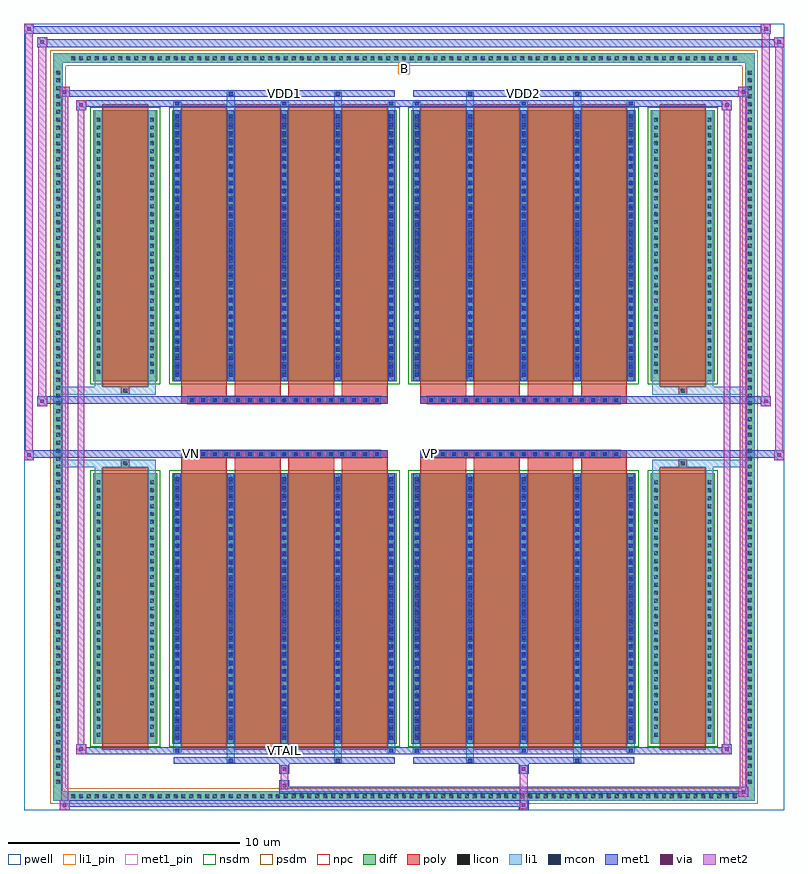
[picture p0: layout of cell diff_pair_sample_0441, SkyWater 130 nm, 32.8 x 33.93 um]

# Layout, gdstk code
import gdstk
lib = gdstk.Library(unit=1e-6, precision=5e-09)
def R(c, l, rs):  # rectangles x0, y0, x1, y1
    for r in rs: c.add(gdstk.rectangle(r[:2], r[2:], *l))
def A(c, l, x, y, w, h, nx, ny, dx, dy):  # array of equal rectangles
    R(c, l, [(x+i*dx, y+j*dy, x+i*dx+w, y+j*dy+h) for i in range(nx) for j in range(ny)])
def P(c, l, *ps):  # polygons
    for p in ps: c.add(gdstk.Polygon(p, *l))
pwell = (64, 44)
diff = (65, 20)
poly = (66, 20)
licon = (66, 44)
li1_pin = (67, 16)
li1 = (67, 20)
mcon = (67, 44)
met1_pin = (68, 16)
met1 = (68, 20)
via = (68, 44)
met2 = (69, 20)
nsdm = (93, 44)
psdm = (94, 20)
npc = (95, 20)

diff_pair_sample_0441 = lib.new_cell('diff_pair_sample_0441')
R(diff_pair_sample_0441, pwell, [(-16.4,-16.53,16.4,17.4), (-13.72,-14.72,-0.01,-0.8), (0.01,-14.72,13.72,-0.8), (-13.72,0.8,-0.01,14.72), (0.01,0.8,13.72,14.72)])
A(diff_pair_sample_0441, diff, -14.485, -16.13, 0.41, 0.41, 85, 2, 0.34, 31.85)
A(diff_pair_sample_0441, diff, -15.13, -15.505, 0.41, 0.41, 1, 91, 0, 0.34)
A(diff_pair_sample_0441, diff, 14.72, -15.505, 0.41, 0.41, 1, 91, 0, 0.34)
R(diff_pair_sample_0441, diff, [(-14.485,-16.13,14.485,-15.72), (-15.13,-15.505,-14.72,15.505), (14.72,-15.505,15.13,15.505), (-13.41,-13.675,-10.65,-1.985), (-10.01,-13.675,-0.32,-1.985), (0.32,-13.675,10.01,-1.985), (10.65,-13.675,13.41,-1.985), (-13.41,1.985,-10.65,13.675), (-10.01,1.985,-0.32,13.675), (0.32,1.985,10.01,13.675), (10.65,1.985,13.41,13.675), (-14.485,15.72,14.485,16.13)])
P(diff_pair_sample_0441, diff, [(15.13,16.13),(-15.13,16.13),(-15.13,-15.72),(-14.72,-15.72),(-14.72,15.72),(14.72,15.72),(14.72,-15.72),(-14.72,-15.72),(-15.13,-15.72),(-15.13,-16.13),(15.13,-16.13)])
A(diff_pair_sample_0441, poly, -9.62, -13.925, 1.98, 12.19, 4, 2, 2.31, 15.66)
A(diff_pair_sample_0441, poly, 0.71, -13.925, 1.98, 12.19, 4, 2, 2.31, 15.66)
A(diff_pair_sample_0441, poly, -9.62, -1.735, 1.98, 0.405, 4, 2, 2.31, 3.065)
A(diff_pair_sample_0441, poly, 0.71, -1.735, 1.98, 0.405, 4, 2, 2.31, 3.065)
A(diff_pair_sample_0441, poly, -9.33, -1.33, 0.33, 0.33, 17, 2, 0.5, 2.33)
A(diff_pair_sample_0441, poly, 1, -1.33, 0.33, 0.33, 17, 2, 0.5, 2.33)
R(diff_pair_sample_0441, poly, [(-13.02,-13.925,-11.04,-1.735), (11.04,-13.925,13.02,-1.735), (-12.195,-1.735,-11.865,-1.405), (-12.195,-1.735,-11.865,-1.405), (11.865,-1.735,12.195,-1.405), (11.865,-1.735,12.195,-1.405), (-9.62,-1.33,-0.71,-1), (0.71,-1.33,9.62,-1), (-9.62,1,-0.71,1.33), (0.71,1,9.62,1.33), (-12.195,1.405,-11.865,1.735), (-12.195,1.405,-11.865,1.735), (11.865,1.405,12.195,1.735), (11.865,1.405,12.195,1.735), (-13.02,1.735,-11.04,13.925), (11.04,1.735,13.02,13.925)])
A(diff_pair_sample_0441, licon, -14.365, -16.01, 0.17, 0.17, 85, 2, 0.34, 31.85)
A(diff_pair_sample_0441, licon, -15.01, -15.385, 0.17, 0.17, 1, 91, 0, 0.34)
A(diff_pair_sample_0441, licon, 14.84, -15.385, 0.17, 0.17, 1, 91, 0, 0.34)
A(diff_pair_sample_0441, licon, -13.27, -13.355, 0.17, 0.17, 1, 33, 0, 0.34)
A(diff_pair_sample_0441, licon, -10.96, -13.355, 0.17, 0.17, 1, 33, 0, 0.34)
A(diff_pair_sample_0441, licon, -9.87, -13.355, 0.17, 0.17, 5, 33, 2.31, 0.34)
A(diff_pair_sample_0441, licon, 0.46, -13.355, 0.17, 0.17, 5, 33, 2.31, 0.34)
A(diff_pair_sample_0441, licon, 10.79, -13.355, 0.17, 0.17, 1, 33, 0, 0.34)
A(diff_pair_sample_0441, licon, 13.1, -13.355, 0.17, 0.17, 1, 33, 0, 0.34)
A(diff_pair_sample_0441, licon, -9.25, -1.25, 0.17, 0.17, 17, 2, 0.5, 2.33)
A(diff_pair_sample_0441, licon, 1.08, -1.25, 0.17, 0.17, 17, 2, 0.5, 2.33)
A(diff_pair_sample_0441, licon, -13.27, 2.305, 0.17, 0.17, 1, 33, 0, 0.34)
A(diff_pair_sample_0441, licon, -10.96, 2.305, 0.17, 0.17, 1, 33, 0, 0.34)
A(diff_pair_sample_0441, licon, -9.87, 2.305, 0.17, 0.17, 5, 33, 2.31, 0.34)
A(diff_pair_sample_0441, licon, 0.46, 2.305, 0.17, 0.17, 5, 33, 2.31, 0.34)
A(diff_pair_sample_0441, licon, 10.79, 2.305, 0.17, 0.17, 1, 33, 0, 0.34)
A(diff_pair_sample_0441, licon, 13.1, 2.305, 0.17, 0.17, 1, 33, 0, 0.34)
R(diff_pair_sample_0441, licon, [(-12.115,-1.655,-11.945,-1.485), (11.945,-1.655,12.115,-1.485), (-12.115,1.485,-11.945,1.655), (11.945,1.485,12.115,1.655)])
R(diff_pair_sample_0441, li1_pin, [(-0.25,15.22,0.25,15.72)])
A(diff_pair_sample_0441, li1, -14.445, -16.09, 0.33, 0.33, 85, 2, 0.34, 31.85)
A(diff_pair_sample_0441, li1, -15.09, -15.465, 0.33, 0.33, 1, 91, 0, 0.34)
A(diff_pair_sample_0441, li1, 14.76, -15.465, 0.33, 0.33, 1, 91, 0, 0.34)
A(diff_pair_sample_0441, li1, -9.95, -14.05, 0.33, 0.375, 3, 2, 4.62, 27.725)
A(diff_pair_sample_0441, li1, -9.87, -14.05, 0.17, 0.17, 3, 2, 4.62, 27.93)
A(diff_pair_sample_0441, li1, 0.38, -14.05, 0.33, 0.375, 3, 2, 4.62, 27.725)
A(diff_pair_sample_0441, li1, 0.46, -14.05, 0.17, 0.17, 3, 2, 4.62, 27.93)
A(diff_pair_sample_0441, li1, -9.95, -13.675, 0.33, 11.69, 5, 2, 2.31, 15.66)
A(diff_pair_sample_0441, li1, 0.38, -13.675, 0.33, 11.69, 5, 2, 2.31, 15.66)
A(diff_pair_sample_0441, li1, -9.87, -13.495, 0.17, 0.17, 5, 32, 2.31, 0.36)
A(diff_pair_sample_0441, li1, -9.87, -13.495, 0.17, 11.33, 5, 2, 2.31, 15.66)
A(diff_pair_sample_0441, li1, 0.46, -13.495, 0.17, 0.17, 5, 32, 2.31, 0.36)
A(diff_pair_sample_0441, li1, 0.46, -13.495, 0.17, 11.33, 5, 2, 2.31, 15.66)
A(diff_pair_sample_0441, li1, -13.35, -13.435, 0.33, 0.33, 1, 33, 0, 0.34)
A(diff_pair_sample_0441, li1, -11.04, -13.435, 0.33, 0.33, 1, 33, 0, 0.34)
A(diff_pair_sample_0441, li1, -9.95, -13.435, 0.33, 0.33, 5, 33, 2.31, 0.34)
A(diff_pair_sample_0441, li1, 0.38, -13.435, 0.33, 0.33, 5, 33, 2.31, 0.34)
A(diff_pair_sample_0441, li1, 10.71, -13.435, 0.33, 0.33, 1, 33, 0, 0.34)
A(diff_pair_sample_0441, li1, 13.02, -13.435, 0.33, 0.33, 1, 33, 0, 0.34)
A(diff_pair_sample_0441, li1, -9.33, -1.33, 0.33, 0.33, 17, 2, 0.5, 2.33)
A(diff_pair_sample_0441, li1, 1, -1.33, 0.33, 0.33, 17, 2, 0.5, 2.33)
A(diff_pair_sample_0441, li1, -9.87, 2.165, 0.17, 0.17, 5, 32, 2.31, 0.36)
A(diff_pair_sample_0441, li1, 0.46, 2.165, 0.17, 0.17, 5, 32, 2.31, 0.36)
A(diff_pair_sample_0441, li1, -13.35, 2.225, 0.33, 0.33, 1, 33, 0, 0.34)
A(diff_pair_sample_0441, li1, -11.04, 2.225, 0.33, 0.33, 1, 33, 0, 0.34)
A(diff_pair_sample_0441, li1, -9.95, 2.225, 0.33, 0.33, 5, 33, 2.31, 0.34)
A(diff_pair_sample_0441, li1, 0.38, 2.225, 0.33, 0.33, 5, 33, 2.31, 0.34)
A(diff_pair_sample_0441, li1, 10.71, 2.225, 0.33, 0.33, 1, 33, 0, 0.34)
A(diff_pair_sample_0441, li1, 13.02, 2.225, 0.33, 0.33, 1, 33, 0, 0.34)
R(diff_pair_sample_0441, li1, [(-15.13,-16.13,-14.72,-15.72), (-15.13,-16.13,-14.72,-15.72), (-14.72,-16.13,14.72,-15.72), (14.72,-16.13,15.13,-15.72), (14.72,-16.13,15.13,-15.72), (-15.13,-15.72,-14.72,15.72), (14.72,-15.72,15.13,15.72), (-7.64,-14.48,-7.31,-13.675), (-7.56,-14.48,-7.39,-14.31), (-3.02,-14.48,-2.69,-13.675), (-2.94,-14.48,-2.77,-14.31), (2.69,-14.48,3.02,-13.675), (2.77,-14.48,2.94,-14.31), (7.31,-14.48,7.64,-13.675), (7.39,-14.48,7.56,-14.31), (-13.35,-13.675,-13.02,-1.985), (-11.04,-13.675,-10.71,-1.985), (10.71,-13.675,11.04,-1.985), (13.02,-13.675,13.35,-1.985), (-13.35,-1.985,-13.02,-1.405), (-11.04,-1.985,-10.71,-1.405), (10.71,-1.985,11.04,-1.405), (13.02,-1.985,13.35,-1.405), (-15.13,-1.735,-12.195,-1.405), (-13.35,-1.735,-12.195,-1.405), (-12.195,-1.735,-11.865,-1.405), (-11.865,-1.735,-10.71,-1.405), (10.71,-1.735,11.865,-1.405), (11.865,-1.735,12.195,-1.405), (11.865,-1.735,15.13,-1.405), (12.195,-1.735,13.35,-1.405), (-15.13,1.405,-12.195,1.735), (-13.35,1.405,-12.195,1.735), (-13.35,1.405,-13.02,1.985), (-12.195,1.405,-11.865,1.735), (-11.865,1.405,-10.71,1.735), (-11.04,1.405,-10.71,1.985), (10.71,1.405,11.865,1.735), (10.71,1.405,11.04,1.985), (11.865,1.405,12.195,1.735), (11.865,1.405,15.13,1.735), (12.195,1.405,13.35,1.735), (13.02,1.405,13.35,1.985), (-13.35,1.985,-13.02,13.675), (-11.04,1.985,-10.71,13.675), (10.71,1.985,11.04,13.675), (13.02,1.985,13.35,13.675), (-7.64,13.675,-7.31,14.48), (-3.02,13.675,-2.69,14.48), (2.69,13.675,3.02,14.48), (7.31,13.675,7.64,14.48), (-7.56,14.31,-7.39,14.48), (-2.94,14.31,-2.77,14.48), (2.77,14.31,2.94,14.48), (7.39,14.31,7.56,14.48), (-15.13,15.72,-14.72,16.13), (-15.13,15.72,-14.72,16.13), (-14.72,15.72,14.72,16.13), (14.72,15.72,15.13,16.13), (14.72,15.72,15.13,16.13)])
A(diff_pair_sample_0441, mcon, -9.87, -14.05, 0.17, 0.17, 3, 2, 4.62, 27.93)
A(diff_pair_sample_0441, mcon, 0.46, -14.05, 0.17, 0.17, 3, 2, 4.62, 27.93)
A(diff_pair_sample_0441, mcon, -9.87, -13.495, 0.17, 0.17, 5, 32, 2.31, 0.36)
A(diff_pair_sample_0441, mcon, 0.46, -13.495, 0.17, 0.17, 5, 32, 2.31, 0.36)
A(diff_pair_sample_0441, mcon, -9.25, -1.25, 0.17, 0.17, 17, 2, 0.5, 2.33)
A(diff_pair_sample_0441, mcon, 1.08, -1.25, 0.17, 0.17, 17, 2, 0.5, 2.33)
A(diff_pair_sample_0441, mcon, -9.87, 2.165, 0.17, 0.17, 5, 32, 2.31, 0.36)
A(diff_pair_sample_0441, mcon, 0.46, 2.165, 0.17, 0.17, 5, 32, 2.31, 0.36)
R(diff_pair_sample_0441, mcon, [(-7.56,-14.48,-7.39,-14.31), (-2.94,-14.48,-2.77,-14.31), (2.77,-14.48,2.94,-14.31), (7.39,-14.48,7.56,-14.31), (-7.56,14.31,-7.39,14.48), (-2.94,14.31,-2.77,14.48), (2.77,14.31,2.94,14.48), (7.39,14.31,7.56,14.48)])
R(diff_pair_sample_0441, met1_pin, [(-5.3,-14.09,-5.03,-13.82), (-9.3,-1.29,-9.03,-1.02), (1.03,-1.29,1.3,-1.02), (-5.3,14.27,-5.03,14.54), (5.03,14.27,5.3,14.54)])
A(diff_pair_sample_0441, met1, -9.93, -14.11, 0.29, 0.29, 3, 2, 4.62, 27.93)
A(diff_pair_sample_0441, met1, 0.4, -14.11, 0.29, 0.29, 3, 2, 4.62, 27.93)
A(diff_pair_sample_0441, met1, -9.93, -13.675, 0.29, 11.69, 5, 2, 2.31, 15.66)
A(diff_pair_sample_0441, met1, 0.4, -13.675, 0.29, 11.69, 5, 2, 2.31, 15.66)
A(diff_pair_sample_0441, met1, -9.93, -13.555, 0.29, 0.29, 5, 32, 2.31, 0.36)
A(diff_pair_sample_0441, met1, 0.4, -13.555, 0.29, 0.29, 5, 32, 2.31, 0.36)
A(diff_pair_sample_0441, met1, -9.31, -1.31, 0.29, 0.29, 17, 2, 0.5, 2.33)
A(diff_pair_sample_0441, met1, 1.02, -1.31, 0.29, 0.29, 17, 2, 0.5, 2.33)
A(diff_pair_sample_0441, met1, -9.93, 2.105, 0.29, 0.29, 5, 32, 2.31, 0.36)
A(diff_pair_sample_0441, met1, 0.4, 2.105, 0.29, 0.29, 5, 32, 2.31, 0.36)
R(diff_pair_sample_0441, met1, [(-14.86,-16.53,-14.43,-16.1), (4.95,-16.53,5.38,-16.1), (-14.86,-16.39,5.38,-16.1), (14.43,-15.96,14.86,-15.53), (-5.38,-15.82,14.86,-15.53), (-5.38,-15.68,-4.95,-15.25), (-5.38,-14.97,-4.95,-14.54), (4.95,-14.97,5.38,-14.54), (-9.93,-14.54,-0.4,-14.25), (-7.62,-14.54,-7.33,-14.25), (-3,-14.54,-2.71,-14.25), (0.4,-14.54,9.93,-14.25), (2.71,-14.54,3,-14.25), (7.33,-14.54,7.62,-14.25), (-14.15,-14.11,-13.72,-13.68), (-14.15,-14.11,-9.93,-13.82), (-9.93,-14.11,-0.4,-13.82), (-0.4,-14.11,0.4,-13.82), (0.4,-14.11,9.93,-13.82), (9.93,-14.11,14.15,-13.82), (13.72,-14.11,14.15,-13.68), (-16.4,-1.43,-15.97,-1), (15.97,-1.43,16.4,-1), (-16.4,-1.33,-0.71,-1), (-9.62,-1.33,-0.71,-1), (0.71,-1.33,9.62,-1), (0.71,-1.33,16.4,-1), (-15.83,0.9,-15.4,1.33), (15.4,0.9,15.83,1.33), (-15.83,1,-9.62,1.33), (-9.62,1,-0.71,1.33), (0.71,1,9.62,1.33), (9.62,1,15.83,1.33), (-14.15,13.68,-13.72,14.11), (13.72,13.68,14.15,14.11), (-14.15,13.82,-9.93,14.11), (-9.93,13.82,-0.4,14.11), (-0.4,13.82,0.4,14.11), (0.4,13.82,9.93,14.11), (9.93,13.82,14.15,14.11), (-14.86,14.25,-14.43,14.68), (-14.86,14.25,-9.93,14.54), (-9.93,14.25,-0.4,14.54), (-7.62,14.25,-7.33,14.54), (-3,14.25,-2.71,14.54), (0.4,14.25,9.93,14.54), (2.71,14.25,3,14.54), (7.33,14.25,7.62,14.54), (9.93,14.25,14.86,14.54), (14.43,14.25,14.86,14.68), (-15.83,16.4,-15.4,16.83), (-15.83,16.4,-13.72,16.73), (-13.72,16.4,13.72,16.73), (13.72,16.4,16.4,16.73), (15.97,16.4,16.4,16.83), (-16.4,16.97,-15.97,17.4), (-16.4,16.97,-13.72,17.3), (-13.72,16.97,13.72,17.3), (13.72,16.97,15.83,17.3), (15.4,16.97,15.83,17.4)])
R(diff_pair_sample_0441, via, [(-14.72,-16.39,-14.57,-16.24), (5.09,-16.39,5.24,-16.24), (14.57,-15.82,14.72,-15.67), (-5.24,-15.54,-5.09,-15.39), (-5.24,-14.83,-5.09,-14.68), (5.09,-14.83,5.24,-14.68), (-14.01,-13.97,-13.86,-13.82), (13.86,-13.97,14.01,-13.82), (-16.26,-1.29,-16.11,-1.14), (16.11,-1.29,16.26,-1.14), (-15.69,1.04,-15.54,1.19), (15.54,1.04,15.69,1.19), (-14.01,13.82,-13.86,13.97), (13.86,13.82,14.01,13.97), (-14.72,14.39,-14.57,14.54), (14.57,14.39,14.72,14.54), (-15.69,16.54,-15.54,16.69), (16.11,16.54,16.26,16.69), (-16.26,17.11,-16.11,17.26), (15.54,17.11,15.69,17.26)])
R(diff_pair_sample_0441, met2, [(-14.86,-16.53,-14.43,-16.1), (-14.79,-16.53,-14.5,14.68), (-14.5,-16.53,-14.43,-16.1), (-14.81,-16.48,-14.48,-16.15), (5,-16.48,5.33,-16.15), (5,-16.15,5.33,-14.92), (14.43,-15.96,14.86,-15.53), (14.5,-15.96,14.79,14.68), (14.79,-15.96,14.86,-15.53), (14.48,-15.91,14.81,-15.58), (-5.33,-15.63,-5,-15.3), (-5.33,-15.3,-5,-14.92), (-5.33,-14.92,-5,-14.59), (5,-14.92,5.33,-14.59), (-14.15,-14.11,-13.72,-13.68), (-14.08,-14.11,-13.79,14.11), (-13.79,-14.11,-13.72,-13.68), (13.72,-14.11,14.15,-13.68), (13.79,-14.11,14.08,14.11), (14.08,-14.11,14.15,-13.68), (-14.1,-14.06,-13.77,-13.73), (13.77,-14.06,14.1,-13.73), (-16.4,-1.43,-15.97,-1), (-16.35,-1.43,-16.02,17.4), (-16.02,-1.43,-15.97,-1), (15.97,-1.43,16.4,-1), (16.02,-1.43,16.35,16.83), (16.35,-1.43,16.4,-1), (-16.35,-1.38,-16.02,-1.05), (16.02,-1.38,16.35,-1.05), (-15.83,0.9,-15.4,1.33), (-15.78,0.9,-15.45,16.83), (-15.45,0.9,-15.4,1.33), (15.4,0.9,15.83,1.33), (15.45,0.9,15.78,17.4), (15.78,0.9,15.83,1.33), (-15.78,0.95,-15.45,1.28), (15.45,0.95,15.78,1.28), (-14.15,13.68,-13.72,14.11), (-13.79,13.68,-13.72,14.11), (13.72,13.68,14.15,14.11), (14.08,13.68,14.15,14.11), (-14.1,13.73,-13.77,14.06), (13.77,13.73,14.1,14.06), (-14.86,14.25,-14.43,14.68), (-14.5,14.25,-14.43,14.68), (14.43,14.25,14.86,14.68), (14.79,14.25,14.86,14.68), (-14.81,14.3,-14.48,14.63), (14.48,14.3,14.81,14.63), (-15.83,16.4,-15.4,16.83), (-15.45,16.4,-15.4,16.83), (15.97,16.4,16.4,16.83), (16.35,16.4,16.4,16.83), (-15.78,16.45,-15.45,16.78), (16.02,16.45,16.35,16.78), (-16.4,16.97,-15.97,17.4), (-16.02,16.97,-15.97,17.4), (15.4,16.97,15.83,17.4), (15.78,16.97,15.83,17.4), (-16.35,17.02,-16.02,17.35), (15.45,17.02,15.78,17.35)])
R(diff_pair_sample_0441, nsdm, [(-13.54,-13.805,-10.52,-1.855), (-10.14,-13.805,-0.19,-1.855), (0.19,-13.805,10.14,-1.855), (10.52,-13.805,13.54,-1.855), (-13.54,1.855,-10.52,13.805), (-10.14,1.855,-0.19,13.805), (0.19,1.855,10.14,13.805), (10.52,1.855,13.54,13.805)])
P(diff_pair_sample_0441, psdm, [(15.26,16.26),(-15.26,16.26),(-15.26,-15.59),(-14.59,-15.59),(-14.59,15.59),(14.59,15.59),(14.59,-15.59),(-14.59,-15.59),(-15.26,-15.59),(-15.26,-16.26),(15.26,-16.26)])
A(diff_pair_sample_0441, npc, -9.35, -1.35, 0.37, 0.37, 17, 2, 0.5, 2.33)
A(diff_pair_sample_0441, npc, 0.98, -1.35, 0.37, 0.37, 17, 2, 0.5, 2.33)
R(diff_pair_sample_0441, npc, [(-12.215,-1.755,-11.845,-1.385), (11.845,-1.755,12.215,-1.385), (-9.35,-1.35,-8.48,-0.98), (-9.35,-1.35,-8.48,-0.98), (-8.85,-1.35,-7.98,-0.98), (-8.85,-1.35,-7.98,-0.98), (-8.35,-1.35,-7.48,-0.98), (-8.35,-1.35,-7.48,-0.98), (-7.85,-1.35,-6.98,-0.98), (-7.85,-1.35,-6.98,-0.98), (-7.35,-1.35,-6.48,-0.98), (-7.35,-1.35,-6.48,-0.98), (-6.85,-1.35,-5.98,-0.98), (-6.85,-1.35,-5.98,-0.98), (-6.35,-1.35,-5.48,-0.98), (-6.35,-1.35,-5.48,-0.98), (-5.85,-1.35,-4.98,-0.98), (-5.85,-1.35,-4.98,-0.98), (-5.35,-1.35,-4.48,-0.98), (-5.35,-1.35,-4.48,-0.98), (-4.85,-1.35,-3.98,-0.98), (-4.85,-1.35,-3.98,-0.98), (-4.35,-1.35,-3.48,-0.98), (-4.35,-1.35,-3.48,-0.98), (-3.85,-1.35,-2.98,-0.98), (-3.85,-1.35,-2.98,-0.98), (-3.35,-1.35,-2.48,-0.98), (-3.35,-1.35,-2.48,-0.98), (-2.85,-1.35,-1.98,-0.98), (-2.85,-1.35,-1.98,-0.98), (-2.35,-1.35,-1.48,-0.98), (-2.35,-1.35,-1.48,-0.98), (-1.85,-1.35,-0.98,-0.98), (-1.85,-1.35,-0.98,-0.98), (0.98,-1.35,1.85,-0.98), (0.98,-1.35,1.85,-0.98), (1.48,-1.35,2.35,-0.98), (1.48,-1.35,2.35,-0.98), (1.98,-1.35,2.85,-0.98), (1.98,-1.35,2.85,-0.98), (2.48,-1.35,3.35,-0.98), (2.48,-1.35,3.35,-0.98), (2.98,-1.35,3.85,-0.98), (2.98,-1.35,3.85,-0.98), (3.48,-1.35,4.35,-0.98), (3.48,-1.35,4.35,-0.98), (3.98,-1.35,4.85,-0.98), (3.98,-1.35,4.85,-0.98), (4.48,-1.35,5.35,-0.98), (4.48,-1.35,5.35,-0.98), (4.98,-1.35,5.85,-0.98), (4.98,-1.35,5.85,-0.98), (5.48,-1.35,6.35,-0.98), (5.48,-1.35,6.35,-0.98), (5.98,-1.35,6.85,-0.98), (5.98,-1.35,6.85,-0.98), (6.48,-1.35,7.35,-0.98), (6.48,-1.35,7.35,-0.98), (6.98,-1.35,7.85,-0.98), (6.98,-1.35,7.85,-0.98), (7.48,-1.35,8.35,-0.98), (7.48,-1.35,8.35,-0.98), (7.98,-1.35,8.85,-0.98), (7.98,-1.35,8.85,-0.98), (8.48,-1.35,9.35,-0.98), (8.48,-1.35,9.35,-0.98), (-9.35,0.98,-8.48,1.35), (-9.35,0.98,-8.48,1.35), (-8.85,0.98,-7.98,1.35), (-8.85,0.98,-7.98,1.35), (-8.35,0.98,-7.48,1.35), (-8.35,0.98,-7.48,1.35), (-7.85,0.98,-6.98,1.35), (-7.85,0.98,-6.98,1.35), (-7.35,0.98,-6.48,1.35), (-7.35,0.98,-6.48,1.35), (-6.85,0.98,-5.98,1.35), (-6.85,0.98,-5.98,1.35), (-6.35,0.98,-5.48,1.35), (-6.35,0.98,-5.48,1.35), (-5.85,0.98,-4.98,1.35), (-5.85,0.98,-4.98,1.35), (-5.35,0.98,-4.48,1.35), (-5.35,0.98,-4.48,1.35), (-4.85,0.98,-3.98,1.35), (-4.85,0.98,-3.98,1.35), (-4.35,0.98,-3.48,1.35), (-4.35,0.98,-3.48,1.35), (-3.85,0.98,-2.98,1.35), (-3.85,0.98,-2.98,1.35), (-3.35,0.98,-2.48,1.35), (-3.35,0.98,-2.48,1.35), (-2.85,0.98,-1.98,1.35), (-2.85,0.98,-1.98,1.35), (-2.35,0.98,-1.48,1.35), (-2.35,0.98,-1.48,1.35), (-1.85,0.98,-0.98,1.35), (-1.85,0.98,-0.98,1.35), (0.98,0.98,1.85,1.35), (0.98,0.98,1.85,1.35), (1.48,0.98,2.35,1.35), (1.48,0.98,2.35,1.35), (1.98,0.98,2.85,1.35), (1.98,0.98,2.85,1.35), (2.48,0.98,3.35,1.35), (2.48,0.98,3.35,1.35), (2.98,0.98,3.85,1.35), (2.98,0.98,3.85,1.35), (3.48,0.98,4.35,1.35), (3.48,0.98,4.35,1.35), (3.98,0.98,4.85,1.35), (3.98,0.98,4.85,1.35), (4.48,0.98,5.35,1.35), (4.48,0.98,5.35,1.35), (4.98,0.98,5.85,1.35), (4.98,0.98,5.85,1.35), (5.48,0.98,6.35,1.35), (5.48,0.98,6.35,1.35), (5.98,0.98,6.85,1.35), (5.98,0.98,6.85,1.35), (6.48,0.98,7.35,1.35), (6.48,0.98,7.35,1.35), (6.98,0.98,7.85,1.35), (6.98,0.98,7.85,1.35), (7.48,0.98,8.35,1.35), (7.48,0.98,8.35,1.35), (7.98,0.98,8.85,1.35), (7.98,0.98,8.85,1.35), (8.48,0.98,9.35,1.35), (8.48,0.98,9.35,1.35), (-12.215,1.385,-11.845,1.755), (11.845,1.385,12.215,1.755)])
diff_pair_sample_0441.add(gdstk.Label('VTAIL', (-5.165,-13.955), layer=68, texttype=5))
diff_pair_sample_0441.add(gdstk.Label('VN', (-9.165,-1.155), layer=68, texttype=5))
diff_pair_sample_0441.add(gdstk.Label('VP', (1.165,-1.155), layer=68, texttype=5))
diff_pair_sample_0441.add(gdstk.Label('B', (0,15.47), layer=67, texttype=5))
diff_pair_sample_0441.add(gdstk.Label('VDD2', (5.165,14.405), layer=68, texttype=5))
diff_pair_sample_0441.add(gdstk.Label('VDD1', (-5.165,14.405), layer=68, texttype=5))

lib.write_gds('diff_pair_sample_0441.gds')
